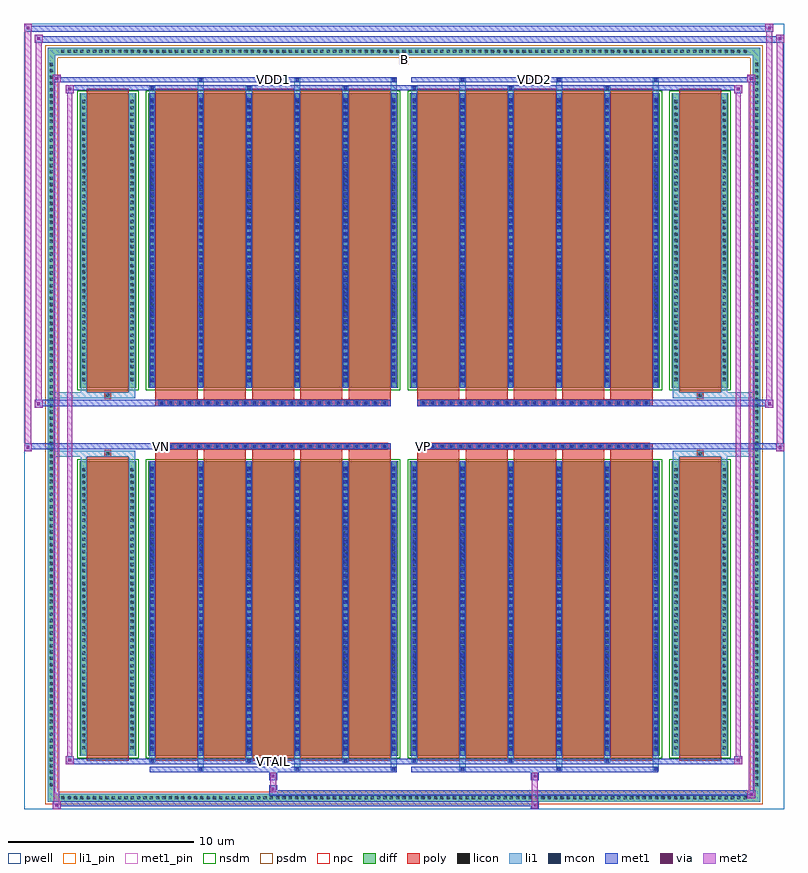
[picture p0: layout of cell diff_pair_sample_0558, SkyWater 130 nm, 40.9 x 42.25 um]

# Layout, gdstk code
import gdstk
lib = gdstk.Library(unit=1e-6, precision=5e-09)
def R(c, l, rs):  # rectangles x0, y0, x1, y1
    for r in rs: c.add(gdstk.rectangle(r[:2], r[2:], *l))
def A(c, l, x, y, w, h, nx, ny, dx, dy):  # array of equal rectangles
    R(c, l, [(x+i*dx, y+j*dy, x+i*dx+w, y+j*dy+h) for i in range(nx) for j in range(ny)])
def P(c, l, *ps):  # polygons
    for p in ps: c.add(gdstk.Polygon(p, *l))
pwell = (64, 44)
diff = (65, 20)
poly = (66, 20)
licon = (66, 44)
li1_pin = (67, 16)
li1 = (67, 20)
mcon = (67, 44)
met1_pin = (68, 16)
met1 = (68, 20)
via = (68, 44)
met2 = (69, 20)
nsdm = (93, 44)
psdm = (94, 20)
npc = (95, 20)

diff_pair_sample_0558 = lib.new_cell('diff_pair_sample_0558')
R(diff_pair_sample_0558, pwell, [(-20.45,-20.69,20.45,21.56), (-17.77,-18.88,-0.01,-0.8), (0.01,-18.88,17.77,-0.8), (-17.77,0.8,-0.01,18.88), (0.01,0.8,17.77,18.88)])
A(diff_pair_sample_0558, diff, -18.565, -20.29, 0.41, 0.41, 109, 2, 0.34, 40.17)
A(diff_pair_sample_0558, diff, -19.18, -19.585, 0.41, 0.41, 1, 115, 0, 0.34)
A(diff_pair_sample_0558, diff, 18.77, -19.585, 0.41, 0.41, 1, 115, 0, 0.34)
R(diff_pair_sample_0558, diff, [(-18.565,-20.29,18.565,-19.88), (-19.18,-19.585,-18.77,19.585), (18.77,-19.585,19.18,19.585), (-17.46,-17.835,-14.41,-1.985), (-13.77,-17.835,-0.32,-1.985), (0.32,-17.835,13.77,-1.985), (14.41,-17.835,17.46,-1.985), (-17.46,1.985,-14.41,17.835), (-13.77,1.985,-0.32,17.835), (0.32,1.985,13.77,17.835), (14.41,1.985,17.46,17.835), (-18.565,19.88,18.565,20.29)])
P(diff_pair_sample_0558, diff, [(19.18,20.29),(-19.18,20.29),(-19.18,-19.88),(-18.77,-19.88),(-18.77,19.88),(18.77,19.88),(18.77,-19.88),(-18.77,-19.88),(-19.18,-19.88),(-19.18,-20.29),(19.18,-20.29)])
A(diff_pair_sample_0558, poly, -13.38, -18.085, 2.27, 16.35, 5, 2, 2.6, 19.82)
A(diff_pair_sample_0558, poly, 0.71, -18.085, 2.27, 16.35, 5, 2, 2.6, 19.82)
A(diff_pair_sample_0558, poly, -13.38, -1.735, 2.27, 0.405, 5, 2, 2.6, 3.065)
A(diff_pair_sample_0558, poly, 0.71, -1.735, 2.27, 0.405, 5, 2, 2.6, 3.065)
A(diff_pair_sample_0558, poly, -13.21, -1.33, 0.33, 0.33, 25, 2, 0.5, 2.33)
A(diff_pair_sample_0558, poly, 0.88, -1.33, 0.33, 0.33, 25, 2, 0.5, 2.33)
R(diff_pair_sample_0558, poly, [(-17.07,-18.085,-14.8,-1.735), (14.8,-18.085,17.07,-1.735), (-16.1,-1.735,-15.77,-1.405), (-16.1,-1.735,-15.77,-1.405), (15.77,-1.735,16.1,-1.405), (15.77,-1.735,16.1,-1.405), (-13.38,-1.33,-0.71,-1), (0.71,-1.33,13.38,-1), (-13.38,1,-0.71,1.33), (0.71,1,13.38,1.33), (-16.1,1.405,-15.77,1.735), (-16.1,1.405,-15.77,1.735), (15.77,1.405,16.1,1.735), (15.77,1.405,16.1,1.735), (-17.07,1.735,-14.8,18.085), (14.8,1.735,17.07,18.085)])
A(diff_pair_sample_0558, licon, -18.445, -20.17, 0.17, 0.17, 109, 2, 0.34, 40.17)
A(diff_pair_sample_0558, licon, -19.06, -19.465, 0.17, 0.17, 1, 115, 0, 0.34)
A(diff_pair_sample_0558, licon, 18.89, -19.465, 0.17, 0.17, 1, 115, 0, 0.34)
A(diff_pair_sample_0558, licon, -17.32, -17.475, 0.17, 0.17, 1, 45, 0, 0.34)
A(diff_pair_sample_0558, licon, -14.72, -17.475, 0.17, 0.17, 1, 45, 0, 0.34)
A(diff_pair_sample_0558, licon, -13.63, -17.475, 0.17, 0.17, 6, 45, 2.6, 0.34)
A(diff_pair_sample_0558, licon, 0.46, -17.475, 0.17, 0.17, 6, 45, 2.6, 0.34)
A(diff_pair_sample_0558, licon, 14.55, -17.475, 0.17, 0.17, 1, 45, 0, 0.34)
A(diff_pair_sample_0558, licon, 17.15, -17.475, 0.17, 0.17, 1, 45, 0, 0.34)
A(diff_pair_sample_0558, licon, -13.13, -1.25, 0.17, 0.17, 25, 2, 0.5, 2.33)
A(diff_pair_sample_0558, licon, 0.96, -1.25, 0.17, 0.17, 25, 2, 0.5, 2.33)
A(diff_pair_sample_0558, licon, -17.32, 2.345, 0.17, 0.17, 1, 45, 0, 0.34)
A(diff_pair_sample_0558, licon, -14.72, 2.345, 0.17, 0.17, 1, 45, 0, 0.34)
A(diff_pair_sample_0558, licon, -13.63, 2.345, 0.17, 0.17, 6, 45, 2.6, 0.34)
A(diff_pair_sample_0558, licon, 0.46, 2.345, 0.17, 0.17, 6, 45, 2.6, 0.34)
A(diff_pair_sample_0558, licon, 14.55, 2.345, 0.17, 0.17, 1, 45, 0, 0.34)
A(diff_pair_sample_0558, licon, 17.15, 2.345, 0.17, 0.17, 1, 45, 0, 0.34)
R(diff_pair_sample_0558, licon, [(-16.02,-1.655,-15.85,-1.485), (15.85,-1.655,16.02,-1.485), (-16.02,1.485,-15.85,1.655), (15.85,1.485,16.02,1.655)])
R(diff_pair_sample_0558, li1_pin, [(-0.25,19.38,0.25,19.88)])
A(diff_pair_sample_0558, li1, -18.525, -20.25, 0.33, 0.33, 109, 2, 0.34, 40.17)
A(diff_pair_sample_0558, li1, -19.14, -19.545, 0.33, 0.33, 1, 115, 0, 0.34)
A(diff_pair_sample_0558, li1, 18.81, -19.545, 0.33, 0.33, 1, 115, 0, 0.34)
A(diff_pair_sample_0558, li1, -11.11, -18.64, 0.33, 0.805, 3, 2, 5.2, 36.475)
A(diff_pair_sample_0558, li1, -11.03, -18.64, 0.17, 0.17, 3, 2, 5.2, 37.11)
A(diff_pair_sample_0558, li1, 2.98, -18.64, 0.33, 0.805, 3, 2, 5.2, 36.475)
A(diff_pair_sample_0558, li1, 3.06, -18.64, 0.17, 0.17, 3, 2, 5.2, 37.11)
A(diff_pair_sample_0558, li1, -13.71, -18.21, 0.33, 0.375, 3, 2, 5.2, 36.045)
A(diff_pair_sample_0558, li1, -13.63, -18.21, 0.17, 0.17, 3, 2, 5.2, 36.25)
A(diff_pair_sample_0558, li1, 0.38, -18.21, 0.33, 0.375, 3, 2, 5.2, 36.045)
A(diff_pair_sample_0558, li1, 0.46, -18.21, 0.17, 0.17, 3, 2, 5.2, 36.25)
A(diff_pair_sample_0558, li1, -13.71, -17.835, 0.33, 15.85, 6, 2, 2.6, 19.82)
A(diff_pair_sample_0558, li1, 0.38, -17.835, 0.33, 15.85, 6, 2, 2.6, 19.82)
A(diff_pair_sample_0558, li1, -17.4, -17.555, 0.33, 0.33, 1, 45, 0, 0.34)
A(diff_pair_sample_0558, li1, -14.8, -17.555, 0.33, 0.33, 1, 45, 0, 0.34)
A(diff_pair_sample_0558, li1, -13.71, -17.555, 0.33, 0.33, 6, 45, 2.6, 0.34)
A(diff_pair_sample_0558, li1, -13.63, -17.555, 0.17, 0.17, 6, 43, 2.6, 0.36)
A(diff_pair_sample_0558, li1, -13.63, -17.555, 0.17, 15.29, 6, 2, 2.6, 19.82)
A(diff_pair_sample_0558, li1, 0.38, -17.555, 0.33, 0.33, 6, 45, 2.6, 0.34)
A(diff_pair_sample_0558, li1, 0.46, -17.555, 0.17, 0.17, 6, 43, 2.6, 0.36)
A(diff_pair_sample_0558, li1, 0.46, -17.555, 0.17, 15.29, 6, 2, 2.6, 19.82)
A(diff_pair_sample_0558, li1, 14.47, -17.555, 0.33, 0.33, 1, 45, 0, 0.34)
A(diff_pair_sample_0558, li1, 17.07, -17.555, 0.33, 0.33, 1, 45, 0, 0.34)
A(diff_pair_sample_0558, li1, -13.21, -1.33, 0.33, 0.33, 25, 2, 0.5, 2.33)
A(diff_pair_sample_0558, li1, 0.88, -1.33, 0.33, 0.33, 25, 2, 0.5, 2.33)
A(diff_pair_sample_0558, li1, -17.4, 2.265, 0.33, 0.33, 1, 45, 0, 0.34)
A(diff_pair_sample_0558, li1, -14.8, 2.265, 0.33, 0.33, 1, 45, 0, 0.34)
A(diff_pair_sample_0558, li1, -13.71, 2.265, 0.33, 0.33, 6, 45, 2.6, 0.34)
A(diff_pair_sample_0558, li1, -13.63, 2.265, 0.17, 0.17, 6, 43, 2.6, 0.36)
A(diff_pair_sample_0558, li1, 0.38, 2.265, 0.33, 0.33, 6, 45, 2.6, 0.34)
A(diff_pair_sample_0558, li1, 0.46, 2.265, 0.17, 0.17, 6, 43, 2.6, 0.36)
A(diff_pair_sample_0558, li1, 14.47, 2.265, 0.33, 0.33, 1, 45, 0, 0.34)
A(diff_pair_sample_0558, li1, 17.07, 2.265, 0.33, 0.33, 1, 45, 0, 0.34)
R(diff_pair_sample_0558, li1, [(-19.18,-20.29,-18.77,-19.88), (-19.18,-20.29,-18.77,-19.88), (-18.77,-20.29,18.77,-19.88), (18.77,-20.29,19.18,-19.88), (18.77,-20.29,19.18,-19.88), (-19.18,-19.88,-18.77,19.88), (18.77,-19.88,19.18,19.88), (-17.4,-17.835,-17.07,-1.985), (-14.8,-17.835,-14.47,-1.985), (14.47,-17.835,14.8,-1.985), (17.07,-17.835,17.4,-1.985), (-17.4,-1.985,-17.07,-1.405), (-14.8,-1.985,-14.47,-1.405), (14.47,-1.985,14.8,-1.405), (17.07,-1.985,17.4,-1.405), (-19.18,-1.735,-16.1,-1.405), (-17.4,-1.735,-16.1,-1.405), (-16.1,-1.735,-15.77,-1.405), (-15.77,-1.735,-14.47,-1.405), (14.47,-1.735,15.77,-1.405), (15.77,-1.735,16.1,-1.405), (15.77,-1.735,19.18,-1.405), (16.1,-1.735,17.4,-1.405), (-19.18,1.405,-16.1,1.735), (-17.4,1.405,-16.1,1.735), (-17.4,1.405,-17.07,1.985), (-16.1,1.405,-15.77,1.735), (-15.77,1.405,-14.47,1.735), (-14.8,1.405,-14.47,1.985), (14.47,1.405,15.77,1.735), (14.47,1.405,14.8,1.985), (15.77,1.405,16.1,1.735), (15.77,1.405,19.18,1.735), (16.1,1.405,17.4,1.735), (17.07,1.405,17.4,1.985), (-17.4,1.985,-17.07,17.835), (-14.8,1.985,-14.47,17.835), (14.47,1.985,14.8,17.835), (17.07,1.985,17.4,17.835), (-19.18,19.88,-18.77,20.29), (-19.18,19.88,-18.77,20.29), (-18.77,19.88,18.77,20.29), (18.77,19.88,19.18,20.29), (18.77,19.88,19.18,20.29)])
A(diff_pair_sample_0558, mcon, -11.03, -18.64, 0.17, 0.17, 3, 2, 5.2, 37.11)
A(diff_pair_sample_0558, mcon, 3.06, -18.64, 0.17, 0.17, 3, 2, 5.2, 37.11)
A(diff_pair_sample_0558, mcon, -13.63, -18.21, 0.17, 0.17, 3, 2, 5.2, 36.25)
A(diff_pair_sample_0558, mcon, 0.46, -18.21, 0.17, 0.17, 3, 2, 5.2, 36.25)
A(diff_pair_sample_0558, mcon, -13.63, -17.555, 0.17, 0.17, 6, 43, 2.6, 0.36)
A(diff_pair_sample_0558, mcon, 0.46, -17.555, 0.17, 0.17, 6, 43, 2.6, 0.36)
A(diff_pair_sample_0558, mcon, -13.13, -1.25, 0.17, 0.17, 25, 2, 0.5, 2.33)
A(diff_pair_sample_0558, mcon, 0.96, -1.25, 0.17, 0.17, 25, 2, 0.5, 2.33)
A(diff_pair_sample_0558, mcon, -13.63, 2.265, 0.17, 0.17, 6, 43, 2.6, 0.36)
A(diff_pair_sample_0558, mcon, 0.46, 2.265, 0.17, 0.17, 6, 43, 2.6, 0.36)
R(diff_pair_sample_0558, met1_pin, [(-7.18,-18.25,-6.91,-17.98), (-13.18,-1.29,-12.91,-1.02), (0.91,-1.29,1.18,-1.02), (-7.18,18.43,-6.91,18.7), (6.91,18.43,7.18,18.7)])
A(diff_pair_sample_0558, met1, -11.09, -18.7, 0.29, 0.29, 3, 2, 5.2, 37.11)
A(diff_pair_sample_0558, met1, 3, -18.7, 0.29, 0.29, 3, 2, 5.2, 37.11)
A(diff_pair_sample_0558, met1, -13.69, -18.27, 0.29, 0.29, 3, 2, 5.2, 36.25)
A(diff_pair_sample_0558, met1, 0.4, -18.27, 0.29, 0.29, 3, 2, 5.2, 36.25)
A(diff_pair_sample_0558, met1, -13.69, -17.835, 0.29, 15.85, 6, 2, 2.6, 19.82)
A(diff_pair_sample_0558, met1, 0.4, -17.835, 0.29, 15.85, 6, 2, 2.6, 19.82)
A(diff_pair_sample_0558, met1, -13.69, -17.615, 0.29, 0.29, 6, 43, 2.6, 0.36)
A(diff_pair_sample_0558, met1, 0.4, -17.615, 0.29, 0.29, 6, 43, 2.6, 0.36)
A(diff_pair_sample_0558, met1, -13.19, -1.31, 0.29, 0.29, 25, 2, 0.5, 2.33)
A(diff_pair_sample_0558, met1, 0.9, -1.31, 0.29, 0.29, 25, 2, 0.5, 2.33)
A(diff_pair_sample_0558, met1, -13.69, 2.205, 0.29, 0.29, 6, 43, 2.6, 0.36)
A(diff_pair_sample_0558, met1, 0.4, 2.205, 0.29, 0.29, 6, 43, 2.6, 0.36)
R(diff_pair_sample_0558, met1, [(-18.91,-20.69,-18.48,-20.26), (6.83,-20.69,7.26,-20.26), (-18.91,-20.55,7.26,-20.26), (18.48,-20.12,18.91,-19.69), (-7.26,-19.98,18.91,-19.69), (-7.26,-19.84,-6.83,-19.41), (-7.26,-19.13,-6.83,-18.7), (6.83,-19.13,7.26,-18.7), (-13.69,-18.7,-0.4,-18.41), (0.4,-18.7,13.69,-18.41), (-18.2,-18.27,-17.77,-17.84), (-18.2,-18.27,-13.69,-17.98), (-13.69,-18.27,-0.4,-17.98), (-0.4,-18.27,0.4,-17.98), (0.4,-18.27,13.69,-17.98), (13.69,-18.27,18.2,-17.98), (17.77,-18.27,18.2,-17.84), (-20.45,-1.43,-20.02,-1), (20.02,-1.43,20.45,-1), (-20.45,-1.33,-0.71,-1), (-13.38,-1.33,-0.71,-1), (0.71,-1.33,13.38,-1), (0.71,-1.33,20.45,-1), (-19.88,0.9,-19.45,1.33), (19.45,0.9,19.88,1.33), (-19.88,1,-13.38,1.33), (-13.38,1,-0.71,1.33), (0.71,1,13.38,1.33), (13.38,1,19.88,1.33), (-18.2,17.84,-17.77,18.27), (17.77,17.84,18.2,18.27), (-18.2,17.98,-13.69,18.27), (-13.69,17.98,-0.4,18.27), (-0.4,17.98,0.4,18.27), (0.4,17.98,13.69,18.27), (13.69,17.98,18.2,18.27), (-18.91,18.41,-18.48,18.84), (-18.91,18.41,-13.69,18.7), (-13.69,18.41,-0.4,18.7), (0.4,18.41,13.69,18.7), (13.69,18.41,18.91,18.7), (18.48,18.41,18.91,18.84), (-19.88,20.56,-19.45,20.99), (-19.88,20.56,-17.77,20.89), (-17.77,20.56,17.77,20.89), (17.77,20.56,20.45,20.89), (20.02,20.56,20.45,20.99), (-20.45,21.13,-20.02,21.56), (-20.45,21.13,-17.77,21.46), (-17.77,21.13,17.77,21.46), (17.77,21.13,19.88,21.46), (19.45,21.13,19.88,21.56)])
R(diff_pair_sample_0558, via, [(-18.77,-20.55,-18.62,-20.4), (6.97,-20.55,7.12,-20.4), (18.62,-19.98,18.77,-19.83), (-7.12,-19.7,-6.97,-19.55), (-7.12,-18.99,-6.97,-18.84), (6.97,-18.99,7.12,-18.84), (-18.06,-18.13,-17.91,-17.98), (17.91,-18.13,18.06,-17.98), (-20.31,-1.29,-20.16,-1.14), (20.16,-1.29,20.31,-1.14), (-19.74,1.04,-19.59,1.19), (19.59,1.04,19.74,1.19), (-18.06,17.98,-17.91,18.13), (17.91,17.98,18.06,18.13), (-18.77,18.55,-18.62,18.7), (18.62,18.55,18.77,18.7), (-19.74,20.7,-19.59,20.85), (20.16,20.7,20.31,20.85), (-20.31,21.27,-20.16,21.42), (19.59,21.27,19.74,21.42)])
R(diff_pair_sample_0558, met2, [(-18.91,-20.69,-18.48,-20.26), (-18.84,-20.69,-18.55,18.84), (-18.55,-20.69,-18.48,-20.26), (-18.86,-20.64,-18.53,-20.31), (6.88,-20.64,7.21,-20.31), (6.88,-20.31,7.21,-19.08), (18.48,-20.12,18.91,-19.69), (18.55,-20.12,18.84,18.84), (18.84,-20.12,18.91,-19.69), (18.53,-20.07,18.86,-19.74), (-7.21,-19.79,-6.88,-19.46), (-7.21,-19.46,-6.88,-19.08), (-7.21,-19.08,-6.88,-18.75), (6.88,-19.08,7.21,-18.75), (-18.2,-18.27,-17.77,-17.84), (-18.13,-18.27,-17.84,18.27), (-17.84,-18.27,-17.77,-17.84), (17.77,-18.27,18.2,-17.84), (17.84,-18.27,18.13,18.27), (18.13,-18.27,18.2,-17.84), (-18.15,-18.22,-17.82,-17.89), (17.82,-18.22,18.15,-17.89), (-20.45,-1.43,-20.02,-1), (-20.4,-1.43,-20.07,21.56), (-20.07,-1.43,-20.02,-1), (20.02,-1.43,20.45,-1), (20.07,-1.43,20.4,20.99), (20.4,-1.43,20.45,-1), (-20.4,-1.38,-20.07,-1.05), (20.07,-1.38,20.4,-1.05), (-19.88,0.9,-19.45,1.33), (-19.83,0.9,-19.5,20.99), (-19.5,0.9,-19.45,1.33), (19.45,0.9,19.88,1.33), (19.5,0.9,19.83,21.56), (19.83,0.9,19.88,1.33), (-19.83,0.95,-19.5,1.28), (19.5,0.95,19.83,1.28), (-18.2,17.84,-17.77,18.27), (-17.84,17.84,-17.77,18.27), (17.77,17.84,18.2,18.27), (18.13,17.84,18.2,18.27), (-18.15,17.89,-17.82,18.22), (17.82,17.89,18.15,18.22), (-18.91,18.41,-18.48,18.84), (-18.55,18.41,-18.48,18.84), (18.48,18.41,18.91,18.84), (18.84,18.41,18.91,18.84), (-18.86,18.46,-18.53,18.79), (18.53,18.46,18.86,18.79), (-19.88,20.56,-19.45,20.99), (-19.5,20.56,-19.45,20.99), (20.02,20.56,20.45,20.99), (20.4,20.56,20.45,20.99), (-19.83,20.61,-19.5,20.94), (20.07,20.61,20.4,20.94), (-20.45,21.13,-20.02,21.56), (-20.07,21.13,-20.02,21.56), (19.45,21.13,19.88,21.56), (19.83,21.13,19.88,21.56), (-20.4,21.18,-20.07,21.51), (19.5,21.18,19.83,21.51)])
R(diff_pair_sample_0558, nsdm, [(-17.59,-17.965,-14.28,-1.855), (-13.9,-17.965,-0.19,-1.855), (0.19,-17.965,13.9,-1.855), (14.28,-17.965,17.59,-1.855), (-17.59,1.855,-14.28,17.965), (-13.9,1.855,-0.19,17.965), (0.19,1.855,13.9,17.965), (14.28,1.855,17.59,17.965)])
P(diff_pair_sample_0558, psdm, [(19.31,20.42),(-19.31,20.42),(-19.31,-19.75),(-18.64,-19.75),(-18.64,19.75),(18.64,19.75),(18.64,-19.75),(-18.64,-19.75),(-19.31,-19.75),(-19.31,-20.42),(19.31,-20.42)])
A(diff_pair_sample_0558, npc, -13.23, -1.35, 0.37, 0.37, 25, 2, 0.5, 2.33)
A(diff_pair_sample_0558, npc, 0.86, -1.35, 0.37, 0.37, 25, 2, 0.5, 2.33)
R(diff_pair_sample_0558, npc, [(-16.12,-1.755,-15.75,-1.385), (15.75,-1.755,16.12,-1.385), (-13.23,-1.35,-12.36,-0.98), (-13.23,-1.35,-12.36,-0.98), (-12.73,-1.35,-11.86,-0.98), (-12.73,-1.35,-11.86,-0.98), (-12.23,-1.35,-11.36,-0.98), (-12.23,-1.35,-11.36,-0.98), (-11.73,-1.35,-10.86,-0.98), (-11.73,-1.35,-10.86,-0.98), (-11.23,-1.35,-10.36,-0.98), (-11.23,-1.35,-10.36,-0.98), (-10.73,-1.35,-9.86,-0.98), (-10.73,-1.35,-9.86,-0.98), (-10.23,-1.35,-9.36,-0.98), (-10.23,-1.35,-9.36,-0.98), (-9.73,-1.35,-8.86,-0.98), (-9.73,-1.35,-8.86,-0.98), (-9.23,-1.35,-8.36,-0.98), (-9.23,-1.35,-8.36,-0.98), (-8.73,-1.35,-7.86,-0.98), (-8.73,-1.35,-7.86,-0.98), (-8.23,-1.35,-7.36,-0.98), (-8.23,-1.35,-7.36,-0.98), (-7.73,-1.35,-6.86,-0.98), (-7.73,-1.35,-6.86,-0.98), (-7.23,-1.35,-6.36,-0.98), (-7.23,-1.35,-6.36,-0.98), (-6.73,-1.35,-5.86,-0.98), (-6.73,-1.35,-5.86,-0.98), (-6.23,-1.35,-5.36,-0.98), (-6.23,-1.35,-5.36,-0.98), (-5.73,-1.35,-4.86,-0.98), (-5.73,-1.35,-4.86,-0.98), (-5.23,-1.35,-4.36,-0.98), (-5.23,-1.35,-4.36,-0.98), (-4.73,-1.35,-3.86,-0.98), (-4.73,-1.35,-3.86,-0.98), (-4.23,-1.35,-3.36,-0.98), (-4.23,-1.35,-3.36,-0.98), (-3.73,-1.35,-2.86,-0.98), (-3.73,-1.35,-2.86,-0.98), (-3.23,-1.35,-2.36,-0.98), (-3.23,-1.35,-2.36,-0.98), (-2.73,-1.35,-1.86,-0.98), (-2.73,-1.35,-1.86,-0.98), (-2.23,-1.35,-1.36,-0.98), (-2.23,-1.35,-1.36,-0.98), (-1.73,-1.35,-0.86,-0.98), (-1.73,-1.35,-0.86,-0.98), (0.86,-1.35,1.73,-0.98), (0.86,-1.35,1.73,-0.98), (1.36,-1.35,2.23,-0.98), (1.36,-1.35,2.23,-0.98), (1.86,-1.35,2.73,-0.98), (1.86,-1.35,2.73,-0.98), (2.36,-1.35,3.23,-0.98), (2.36,-1.35,3.23,-0.98), (2.86,-1.35,3.73,-0.98), (2.86,-1.35,3.73,-0.98), (3.36,-1.35,4.23,-0.98), (3.36,-1.35,4.23,-0.98), (3.86,-1.35,4.73,-0.98), (3.86,-1.35,4.73,-0.98), (4.36,-1.35,5.23,-0.98), (4.36,-1.35,5.23,-0.98), (4.86,-1.35,5.73,-0.98), (4.86,-1.35,5.73,-0.98), (5.36,-1.35,6.23,-0.98), (5.36,-1.35,6.23,-0.98), (5.86,-1.35,6.73,-0.98), (5.86,-1.35,6.73,-0.98), (6.36,-1.35,7.23,-0.98), (6.36,-1.35,7.23,-0.98), (6.86,-1.35,7.73,-0.98), (6.86,-1.35,7.73,-0.98), (7.36,-1.35,8.23,-0.98), (7.36,-1.35,8.23,-0.98), (7.86,-1.35,8.73,-0.98), (7.86,-1.35,8.73,-0.98), (8.36,-1.35,9.23,-0.98), (8.36,-1.35,9.23,-0.98), (8.86,-1.35,9.73,-0.98), (8.86,-1.35,9.73,-0.98), (9.36,-1.35,10.23,-0.98), (9.36,-1.35,10.23,-0.98), (9.86,-1.35,10.73,-0.98), (9.86,-1.35,10.73,-0.98), (10.36,-1.35,11.23,-0.98), (10.36,-1.35,11.23,-0.98), (10.86,-1.35,11.73,-0.98), (10.86,-1.35,11.73,-0.98), (11.36,-1.35,12.23,-0.98), (11.36,-1.35,12.23,-0.98), (11.86,-1.35,12.73,-0.98), (11.86,-1.35,12.73,-0.98), (12.36,-1.35,13.23,-0.98), (12.36,-1.35,13.23,-0.98), (-13.23,0.98,-12.36,1.35), (-13.23,0.98,-12.36,1.35), (-12.73,0.98,-11.86,1.35), (-12.73,0.98,-11.86,1.35), (-12.23,0.98,-11.36,1.35), (-12.23,0.98,-11.36,1.35), (-11.73,0.98,-10.86,1.35), (-11.73,0.98,-10.86,1.35), (-11.23,0.98,-10.36,1.35), (-11.23,0.98,-10.36,1.35), (-10.73,0.98,-9.86,1.35), (-10.73,0.98,-9.86,1.35), (-10.23,0.98,-9.36,1.35), (-10.23,0.98,-9.36,1.35), (-9.73,0.98,-8.86,1.35), (-9.73,0.98,-8.86,1.35), (-9.23,0.98,-8.36,1.35), (-9.23,0.98,-8.36,1.35), (-8.73,0.98,-7.86,1.35), (-8.73,0.98,-7.86,1.35), (-8.23,0.98,-7.36,1.35), (-8.23,0.98,-7.36,1.35), (-7.73,0.98,-6.86,1.35), (-7.73,0.98,-6.86,1.35), (-7.23,0.98,-6.36,1.35), (-7.23,0.98,-6.36,1.35), (-6.73,0.98,-5.86,1.35), (-6.73,0.98,-5.86,1.35), (-6.23,0.98,-5.36,1.35), (-6.23,0.98,-5.36,1.35), (-5.73,0.98,-4.86,1.35), (-5.73,0.98,-4.86,1.35), (-5.23,0.98,-4.36,1.35), (-5.23,0.98,-4.36,1.35), (-4.73,0.98,-3.86,1.35), (-4.73,0.98,-3.86,1.35), (-4.23,0.98,-3.36,1.35), (-4.23,0.98,-3.36,1.35), (-3.73,0.98,-2.86,1.35), (-3.73,0.98,-2.86,1.35), (-3.23,0.98,-2.36,1.35), (-3.23,0.98,-2.36,1.35), (-2.73,0.98,-1.86,1.35), (-2.73,0.98,-1.86,1.35), (-2.23,0.98,-1.36,1.35), (-2.23,0.98,-1.36,1.35), (-1.73,0.98,-0.86,1.35), (-1.73,0.98,-0.86,1.35), (0.86,0.98,1.73,1.35), (0.86,0.98,1.73,1.35), (1.36,0.98,2.23,1.35), (1.36,0.98,2.23,1.35), (1.86,0.98,2.73,1.35), (1.86,0.98,2.73,1.35), (2.36,0.98,3.23,1.35), (2.36,0.98,3.23,1.35), (2.86,0.98,3.73,1.35), (2.86,0.98,3.73,1.35), (3.36,0.98,4.23,1.35), (3.36,0.98,4.23,1.35), (3.86,0.98,4.73,1.35), (3.86,0.98,4.73,1.35), (4.36,0.98,5.23,1.35), (4.36,0.98,5.23,1.35), (4.86,0.98,5.73,1.35), (4.86,0.98,5.73,1.35), (5.36,0.98,6.23,1.35), (5.36,0.98,6.23,1.35), (5.86,0.98,6.73,1.35), (5.86,0.98,6.73,1.35), (6.36,0.98,7.23,1.35), (6.36,0.98,7.23,1.35), (6.86,0.98,7.73,1.35), (6.86,0.98,7.73,1.35), (7.36,0.98,8.23,1.35), (7.36,0.98,8.23,1.35), (7.86,0.98,8.73,1.35), (7.86,0.98,8.73,1.35), (8.36,0.98,9.23,1.35), (8.36,0.98,9.23,1.35), (8.86,0.98,9.73,1.35), (8.86,0.98,9.73,1.35), (9.36,0.98,10.23,1.35), (9.36,0.98,10.23,1.35), (9.86,0.98,10.73,1.35), (9.86,0.98,10.73,1.35), (10.36,0.98,11.23,1.35), (10.36,0.98,11.23,1.35), (10.86,0.98,11.73,1.35), (10.86,0.98,11.73,1.35), (11.36,0.98,12.23,1.35), (11.36,0.98,12.23,1.35), (11.86,0.98,12.73,1.35), (11.86,0.98,12.73,1.35), (12.36,0.98,13.23,1.35), (12.36,0.98,13.23,1.35), (-16.12,1.385,-15.75,1.755), (15.75,1.385,16.12,1.755)])
diff_pair_sample_0558.add(gdstk.Label('VTAIL', (-7.045,-18.115), layer=68, texttype=5))
diff_pair_sample_0558.add(gdstk.Label('VN', (-13.045,-1.155), layer=68, texttype=5))
diff_pair_sample_0558.add(gdstk.Label('VP', (1.045,-1.155), layer=68, texttype=5))
diff_pair_sample_0558.add(gdstk.Label('B', (0,19.63), layer=67, texttype=5))
diff_pair_sample_0558.add(gdstk.Label('VDD2', (7.045,18.565), layer=68, texttype=5))
diff_pair_sample_0558.add(gdstk.Label('VDD1', (-7.045,18.565), layer=68, texttype=5))

lib.write_gds('diff_pair_sample_0558.gds')
